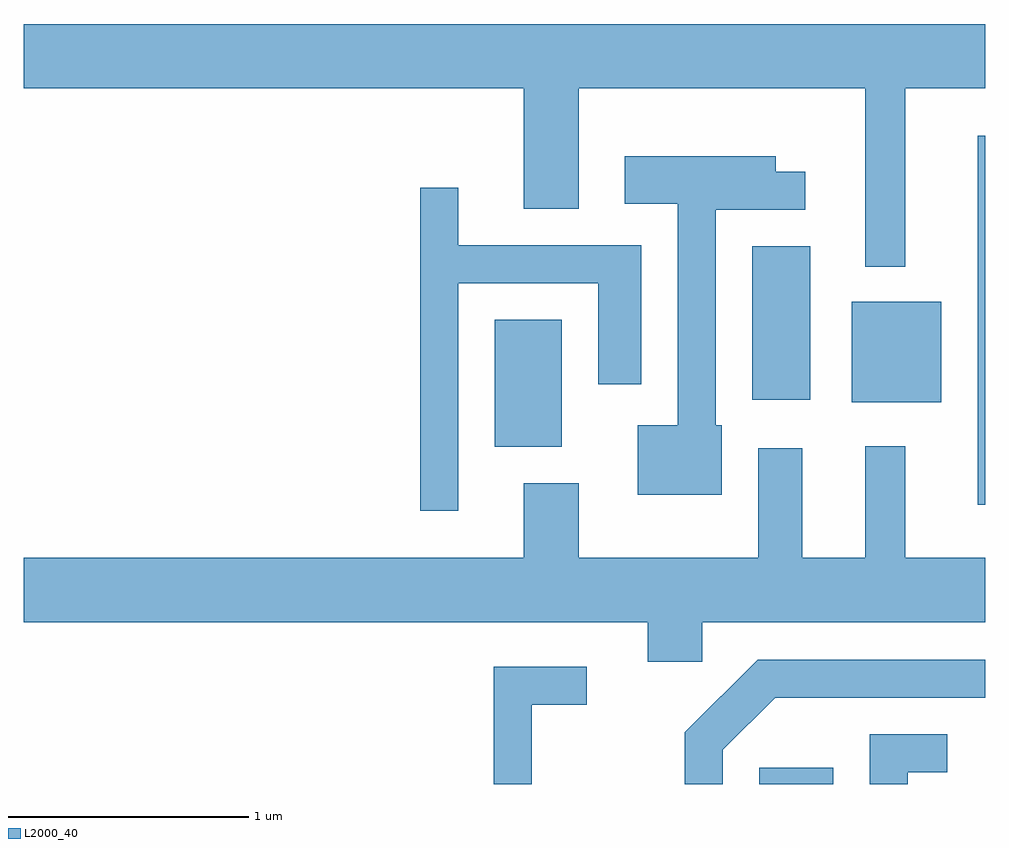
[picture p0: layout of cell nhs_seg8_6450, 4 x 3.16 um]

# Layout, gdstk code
import gdstk
lib = gdstk.Library(unit=1e-6, precision=1e-09)
def R(c, l, rs):  # rectangles x0, y0, x1, y1
    for r in rs: c.add(gdstk.rectangle(r[:2], r[2:], *l))
def P(c, l, *ps):  # polygons
    for p in ps: c.add(gdstk.Polygon(p, *l))
L2000_40 = (2000, 40)

nhs_seg8_6450 = lib.new_cell('nhs_seg8_6450')
R(nhs_seg8_6450, L2000_40, [(380.671,1902.342,380.979,1902.409), (381.581,1903.503,381.611,1905.039), (379.571,1903.746,379.849,1904.274), (381.056,1903.931,381.429,1904.349), (380.641,1903.941,380.884,1904.579)])
P(nhs_seg8_6450, L2000_40, [(381.279,1905.236),(381.611,1905.236),(381.611,1905.504),(377.611,1905.504),(377.611,1905.236),(379.691,1905.236),(379.691,1904.736),(379.919,1904.736),(379.919,1905.236),(381.111,1905.236),(381.111,1904.493),(381.279,1904.493)],
  [(380.514,1903.834),(380.489,1903.834),(380.489,1904.731),(380.863,1904.731),(380.863,1904.889),(380.739,1904.889),(380.739,1904.954),(380.111,1904.954),(380.111,1904.756),(380.331,1904.756),(380.331,1903.834),(380.166,1903.834),(380.166,1903.546),(380.514,1903.546)],
  [(379.419,1904.426),(380.001,1904.426),(380.001,1904.006),(380.179,1904.006),(380.179,1904.584),(379.419,1904.584),(379.419,1904.823),(379.261,1904.823),(379.261,1903.478),(379.419,1903.478)],
  [(380.434,1903.016),(381.611,1903.016),(381.611,1903.284),(381.279,1903.284),(381.279,1903.748),(381.111,1903.748),(381.111,1903.284),(380.849,1903.284),(380.849,1903.739),(380.666,1903.739),(380.666,1903.284),(379.919,1903.284),(379.919,1903.594),(379.691,1903.594),(379.691,1903.284),(377.611,1903.284),(377.611,1903.016),(380.206,1903.016),(380.206,1902.851),(380.434,1902.851)],
  [(380.519,1902.484),(380.737,1902.701),(381.611,1902.701),(381.611,1902.859),(380.664,1902.859),(380.361,1902.557),(380.361,1902.342),(380.519,1902.342)],
  [(379.724,1902.671),(379.953,1902.671),(379.953,1902.829),(379.566,1902.829),(379.566,1902.342),(379.724,1902.342)],
  [(381.289,1902.391),(381.453,1902.391),(381.453,1902.549),(381.131,1902.549),(381.131,1902.342),(381.289,1902.342)])

lib.write_gds('nhs_seg8_6450.gds')
